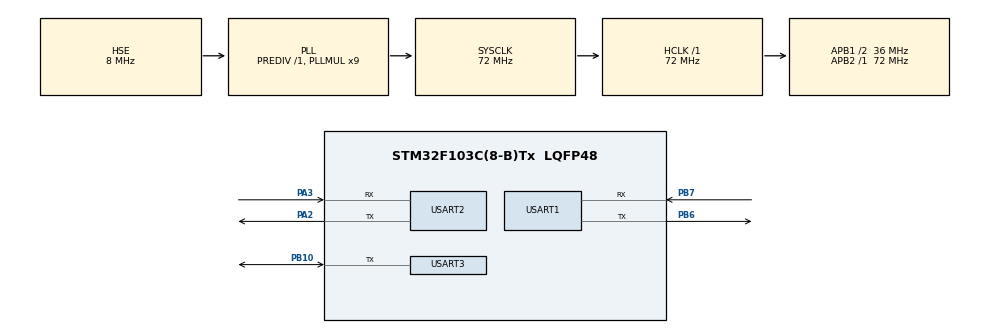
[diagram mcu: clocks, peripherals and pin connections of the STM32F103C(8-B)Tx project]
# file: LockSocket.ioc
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Dma.Request0=USART1_RX
Dma.Request1=USART1_TX
Dma.Request2=USART2_RX
Dma.Request3=USART2_TX
Dma.Request4=USART3_RX
Dma.Request5=USART3_TX
Dma.USART1_RX.0.Direction=DMA_PERIPH_TO_MEMORY
Dma.USART1_RX.0.Instance=DMA1_Channel5
Dma.USART1_RX.0.MemDataAlignment=DMA_MDATAALIGN_BYTE
Dma.USART1_RX.0.MemInc=DMA_MINC_ENABLE
Dma.USART1_RX.0.Mode=DMA_NORMAL
Dma.USART1_RX.0.PeriphDataAlignment=DMA_PDATAALIGN_BYTE
Dma.USART1_RX.0.PeriphInc=DMA_PINC_DISABLE
Dma.USART1_RX.0.Priority=DMA_PRIORITY_LOW
Dma.USART1_TX.1.Direction=DMA_MEMORY_TO_PERIPH
Dma.USART1_TX.1.Instance=DMA1_Channel4
Dma.USART1_TX.1.MemDataAlignment=DMA_MDATAALIGN_BYTE
Dma.USART1_TX.1.MemInc=DMA_MINC_ENABLE
Dma.USART1_TX.1.Mode=DMA_NORMAL
Dma.USART1_TX.1.PeriphDataAlignment=DMA_PDATAALIGN_BYTE
Dma.USART1_TX.1.PeriphInc=DMA_PINC_DISABLE
Dma.USART1_TX.1.Priority=DMA_PRIORITY_LOW
Dma.USART2_RX.2.Direction=DMA_PERIPH_TO_MEMORY
Dma.USART2_RX.2.Instance=DMA1_Channel6
Dma.USART2_RX.2.MemDataAlignment=DMA_MDATAALIGN_BYTE
Dma.USART2_RX.2.MemInc=DMA_MINC_ENABLE
Dma.USART2_RX.2.Mode=DMA_NORMAL
Dma.USART2_RX.2.PeriphDataAlignment=DMA_PDATAALIGN_BYTE
Dma.USART2_RX.2.PeriphInc=DMA_PINC_DISABLE
Dma.USART2_RX.2.Priority=DMA_PRIORITY_LOW
Dma.USART2_TX.3.Direction=DMA_MEMORY_TO_PERIPH
Dma.USART2_TX.3.Instance=DMA1_Channel7
Dma.USART2_TX.3.MemDataAlignment=DMA_MDATAALIGN_BYTE
Dma.USART2_TX.3.MemInc=DMA_MINC_ENABLE
Dma.USART2_TX.3.Mode=DMA_NORMAL
Dma.USART2_TX.3.PeriphDataAlignment=DMA_PDATAALIGN_BYTE
Dma.USART2_TX.3.PeriphInc=DMA_PINC_DISABLE
Dma.USART2_TX.3.Priority=DMA_PRIORITY_LOW
Dma.USART3_RX.4.Direction=DMA_PERIPH_TO_MEMORY
Dma.USART3_RX.4.Instance=DMA1_Channel3
Dma.USART3_RX.4.MemDataAlignment=DMA_MDATAALIGN_BYTE
Dma.USART3_RX.4.MemInc=DMA_MINC_ENABLE
Dma.USART3_RX.4.Mode=DMA_NORMAL
Dma.USART3_RX.4.PeriphDataAlignment=DMA_PDATAALIGN_BYTE
Dma.USART3_RX.4.PeriphInc=DMA_PINC_DISABLE
Dma.USART3_RX.4.Priority=DMA_PRIORITY_LOW
Dma.USART3_TX.5.Direction=DMA_MEMORY_TO_PERIPH
Dma.USART3_TX.5.Instance=DMA1_Channel2
Dma.USART3_TX.5.MemDataAlignment=DMA_MDATAALIGN_BYTE
Dma.USART3_TX.5.MemInc=DMA_MINC_ENABLE
Dma.USART3_TX.5.Mode=DMA_NORMAL
Dma.USART3_TX.5.PeriphDataAlignment=DMA_PDATAALIGN_BYTE
Dma.USART3_TX.5.PeriphInc=DMA_PINC_DISABLE
Dma.USART3_TX.5.Priority=DMA_PRIORITY_LOW
Mcu.Family=STM32F1
Mcu.Name=STM32F103C(8-B)Tx
Mcu.Package=LQFP48
NVIC.DMA1_Channel2_IRQn=true\:0\:0\:false\:false\:true\:false\:true
NVIC.DMA1_Channel3_IRQn=true\:0\:0\:false\:false\:true\:false\:true
NVIC.DMA1_Channel4_IRQn=true\:0\:0\:false\:false\:true\:false\:true
NVIC.DMA1_Channel5_IRQn=true\:0\:0\:false\:false\:true\:false\:true
NVIC.DMA1_Channel6_IRQn=true\:0\:0\:false\:false\:true\:false\:true
NVIC.DMA1_Channel7_IRQn=true\:0\:0\:false\:false\:true\:false\:true
NVIC.PriorityGroup=NVIC_PRIORITYGROUP_4
NVIC.USART1_IRQn=true\:0\:0\:false\:false\:true\:true\:true
NVIC.USART2_IRQn=true\:0\:0\:false\:false\:true\:true\:true
NVIC.USART3_IRQn=true\:0\:0\:false\:false\:true\:true\:true
PA13.Mode=Serial_Wire
PA13.Signal=SYS_JTMS-SWDIO
PA14.Mode=Serial_Wire
PA14.Signal=SYS_JTCK-SWCLK
PA2.Mode=Asynchronous
PA2.Signal=USART2_TX
PA3.Mode=Asynchronous
PA3.Signal=USART2_RX
PB10.Mode=Half_duplex(single_wire_mode)
PB10.Signal=USART3_TX
PB6.Mode=Asynchronous
PB6.Signal=USART1_TX
PB7.Mode=Asynchronous
PB7.Signal=USART1_RX
PD0-OSC_IN.Mode=HSE-External-Oscillator
PD0-OSC_IN.Signal=RCC_OSC_IN
PD1-OSC_OUT.Mode=HSE-External-Oscillator
PD1-OSC_OUT.Signal=RCC_OSC_OUT
ProjectManager.HeapSize=0x200
ProjectManager.StackSize=0x400
ProjectManager.TargetToolchain=Other Toolchains (GPDSC)
RCC.AHBFreq_Value=72000000
RCC.APB1CLKDivider=RCC_HCLK_DIV2
RCC.APB1Freq_Value=36000000
RCC.APB1TimFreq_Value=72000000
RCC.APB2Freq_Value=72000000
RCC.APB2TimFreq_Value=72000000
RCC.HCLKFreq_Value=72000000
RCC.PLLMUL=RCC_PLL_MUL9
RCC.PLLSourceVirtual=RCC_PLLSOURCE_HSE
RCC.SYSCLKFreq_VALUE=72000000
RCC.SYSCLKSource=RCC_SYSCLKSOURCE_PLLCLK
RCC.USBFreq_Value=72000000
USART1.VirtualMode=VM_ASYNC
USART2.VirtualMode=VM_ASYNC
USART3.VirtualMode=VM_ASYNC
VP_IWDG_VS_IWDG.Mode=IWDG_Activate
board=custom

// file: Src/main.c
/* USER CODE BEGIN Header */
/**
  ******************************************************************************
  * @file           : main.c
  * @brief          : Main program body
  ******************************************************************************
  ** This notice applies to any and all portions of this file
  * that are not between comment pairs USER CODE BEGIN and
  * USER CODE END. Other portions of this file, whether
  * inserted by the user or by software development tools
  * are owned by their respective copyright owners.
  *
  * COPYRIGHT(c) 2019 STMicroelectronics
  *
  * Redistribution and use in source and binary forms, with or without modification,
  * are permitted provided that the following conditions are met:
  *   1. Redistributions of source code must retain the above copyright notice,
  *      this list of conditions and the following disclaimer.
  *   2. Redistributions in binary form must reproduce the above copyright notice,
  *      this list of conditions and the following disclaimer in the documentation
  *      and/or other materials provided with the distribution.
  *   3. Neither the name of STMicroelectronics nor the names of its contributors
  *      may be used to endorse or promote products derived from this software
  *      without specific prior written permission.
  *
  * THIS SOFTWARE IS PROVIDED BY THE COPYRIGHT HOLDERS AND CONTRIBUTORS "AS IS"
  * AND ANY EXPRESS OR IMPLIED WARRANTIES, INCLUDING, BUT NOT LIMITED TO, THE
  * IMPLIED WARRANTIES OF MERCHANTABILITY AND FITNESS FOR A PARTICULAR PURPOSE ARE
  * DISCLAIMED. IN NO EVENT SHALL THE COPYRIGHT HOLDER OR CONTRIBUTORS BE LIABLE
  * FOR ANY DIRECT, INDIRECT, INCIDENTAL, SPECIAL, EXEMPLARY, OR CONSEQUENTIAL
  * DAMAGES (INCLUDING, BUT NOT LIMITED TO, PROCUREMENT OF SUBSTITUTE GOODS OR
  * SERVICES; LOSS OF USE, DATA, OR PROFITS; OR BUSINESS INTERRUPTION) HOWEVER
  * CAUSED AND ON ANY THEORY OF LIABILITY, WHETHER IN CONTRACT, STRICT LIABILITY,
  * OR TORT (INCLUDING NEGLIGENCE OR OTHERWISE) ARISING IN ANY WAY OUT OF THE USE
  * OF THIS SOFTWARE, EVEN IF ADVISED OF THE POSSIBILITY OF SUCH DAMAGE.
  *
  ******************************************************************************
  */
/* USER CODE END Header */

#include "main.h"
#include "dma.h"
#include "iwdg.h"
#include "usart.h"
#include "gpio.h"

/* USER CODE BEGIN PV */

unsigned char usart1_rx_buffer[128];
unsigned char usart1_tx_buffer[128];
unsigned int usart1_tx_len = 0;
unsigned char usart1_rx_flag = 0;

unsigned char usart2_rx_buffer[128];
unsigned char usart2_tx_buffer[128];
unsigned int usart2_tx_len = 0;
unsigned char usart2_rx_flag = 0;

unsigned char usart3_rx_buffer[128];
unsigned char usart3_tx_buffer[128];
unsigned int usart3_tx_len = 0;
unsigned char usart3_rx_flag = 0;

/* USER CODE END PV */

void SystemClock_Config(void);

int main(void)
{

  /* MCU Configuration--------------------------------------------------------*/

  /* Reset of all peripherals, Initializes the Flash interface and the Systick. */
  HAL_Init();

  /* Configure the system clock */
  SystemClock_Config();

  /* Initialize all configured peripherals */
  MX_GPIO_Init();
  MX_DMA_Init();
  MX_USART1_UART_Init();
  MX_USART2_UART_Init();
  MX_USART3_UART_Init();
  MX_IWDG_Init();
  /* USER CODE BEGIN 2 */

  if (HAL_UART_Receive_DMA(&huart1, (uint8_t *)&usart1_rx_buffer, 128) != HAL_OK)    Error_Handler();
  if (HAL_UART_Receive_DMA(&huart2, (uint8_t *)&usart2_rx_buffer, 128) != HAL_OK)    Error_Handler();
  if (HAL_UART_Receive_DMA(&huart3, (uint8_t *)&usart3_rx_buffer, 128) != HAL_OK)    Error_Handler();

  __HAL_UART_ENABLE_IT(&huart1, UART_IT_IDLE);
  __HAL_UART_ENABLE_IT(&huart2, UART_IT_IDLE);
  __HAL_UART_ENABLE_IT(&huart3, UART_IT_IDLE);

  /* USER CODE END 2 */

  /* Infinite loop */
  while (1)
  {

    /* USER CODE BEGIN 3 */

	  if (1 == usart1_rx_flag)
	  {
		  if ((usart1_tx_buffer[0] == 0xaa)&&(usart1_tx_buffer[1] == 0x55))
		  {
			  HAL_UART_Transmit(&huart2, usart1_tx_buffer, usart1_tx_len, 0xff);
		  }
		  else if (usart1_tx_buffer[0] == '#')
		  {
			  HAL_HalfDuplex_EnableTransmitter(&huart3);
			  HAL_UART_Transmit(&huart3, usart1_tx_buffer, usart1_tx_len, 0xff);
			  HAL_HalfDuplex_EnableReceiver(&huart3);
		  }
		  usart1_rx_flag = 0;
	  }

	  if (1 == usart2_rx_flag)
	  {
		  HAL_UART_Transmit(&huart1, usart2_tx_buffer, usart2_tx_len, 0xff);
		  usart2_rx_flag = 0;
	  }

	  if (1 == usart3_rx_flag)
	  {
		  HAL_UART_Transmit(&huart1, usart3_tx_buffer, usart3_tx_len, 0xff);
		  usart3_rx_flag = 0;
	  }

	  HAL_IWDG_Refresh(&hiwdg);

  }
  /* USER CODE END 3 */
}

void SystemClock_Config(void)
{
  RCC_OscInitTypeDef RCC_OscInitStruct = {0};
  RCC_ClkInitTypeDef RCC_ClkInitStruct = {0};

  /** Initializes the CPU, AHB and APB busses clocks
  */
  RCC_OscInitStruct.OscillatorType = RCC_OSCILLATORTYPE_LSI|RCC_OSCILLATORTYPE_HSE;
  RCC_OscInitStruct.HSEState = RCC_HSE_ON;
  RCC_OscInitStruct.HSEPredivValue = RCC_HSE_PREDIV_DIV1;
  RCC_OscInitStruct.HSIState = RCC_HSI_ON;
  RCC_OscInitStruct.LSIState = RCC_LSI_ON;
  RCC_OscInitStruct.PLL.PLLState = RCC_PLL_ON;
  RCC_OscInitStruct.PLL.PLLSource = RCC_PLLSOURCE_HSE;
  RCC_OscInitStruct.PLL.PLLMUL = RCC_PLL_MUL9;
  if (HAL_RCC_OscConfig(&RCC_OscInitStruct) != HAL_OK)
  {
    Error_Handler();
  }
  /** Initializes the CPU, AHB and APB busses clocks
  */
  RCC_ClkInitStruct.ClockType = RCC_CLOCKTYPE_HCLK|RCC_CLOCKTYPE_SYSCLK
                              |RCC_CLOCKTYPE_PCLK1|RCC_CLOCKTYPE_PCLK2;
  RCC_ClkInitStruct.SYSCLKSource = RCC_SYSCLKSOURCE_PLLCLK;
  RCC_ClkInitStruct.AHBCLKDivider = RCC_SYSCLK_DIV1;
  RCC_ClkInitStruct.APB1CLKDivider = RCC_HCLK_DIV2;
  RCC_ClkInitStruct.APB2CLKDivider = RCC_HCLK_DIV1;

  if (HAL_RCC_ClockConfig(&RCC_ClkInitStruct, FLASH_LATENCY_2) != HAL_OK)
  {
    Error_Handler();
  }
}

void Error_Handler(void)
{
}

/************************ (C) COPYRIGHT STMicroelectronics *****END OF FILE****/
